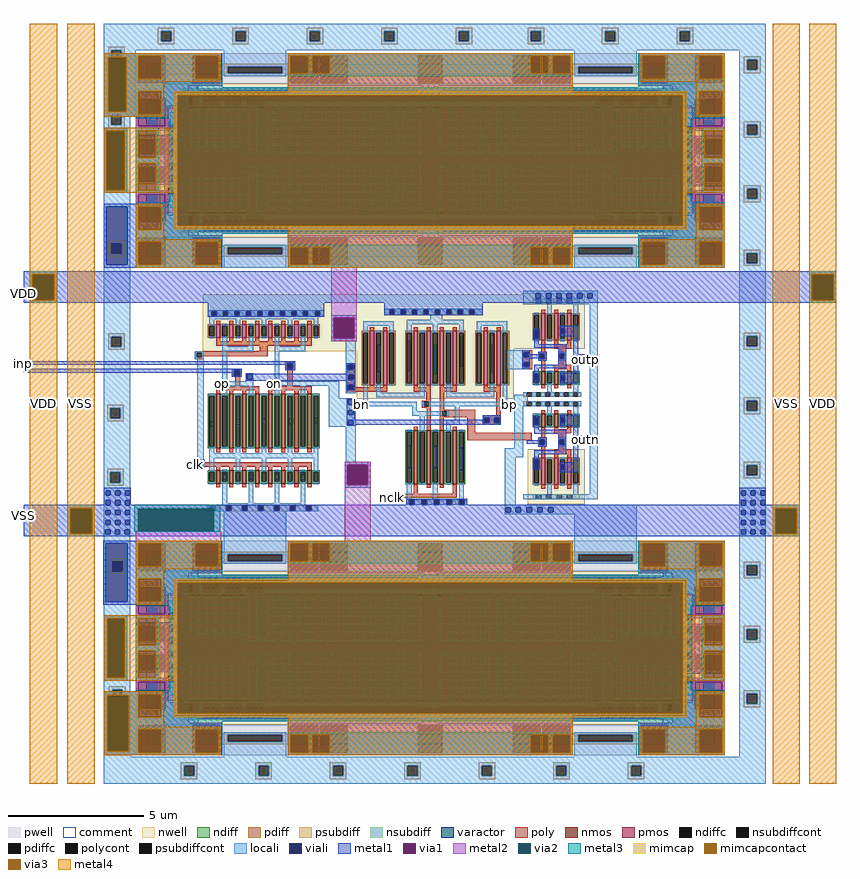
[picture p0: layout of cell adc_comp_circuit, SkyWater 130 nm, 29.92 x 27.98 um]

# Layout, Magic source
magic
tech sky130A
magscale 1 2
<< nwell >>
rect 2402 226 2858 230
rect 44 16 2858 226
rect 44 -178 2570 16
rect 44 -196 2336 -178
rect 570 -198 812 -196
rect 1178 -546 2336 -196
<< nmos >>
rect 144 -910 174 -510
rect 240 -910 270 -510
rect 336 -910 366 -510
rect 432 -910 462 -510
rect 528 -910 558 -510
rect 624 -910 654 -510
rect 720 -910 750 -510
rect 816 -910 846 -510
rect 144 -1170 174 -1070
rect 240 -1170 270 -1070
rect 336 -1170 366 -1070
rect 432 -1170 462 -1070
rect 528 -1170 558 -1070
rect 624 -1170 654 -1070
rect 720 -1170 750 -1070
rect 816 -1170 846 -1070
rect 1598 -1176 1628 -776
rect 1694 -1176 1724 -776
rect 1790 -1176 1820 -776
rect 1886 -1176 1916 -776
<< pmos >>
rect 144 -96 174 4
rect 240 -96 270 4
rect 336 -96 366 4
rect 432 -96 462 4
rect 528 -96 558 4
rect 624 -96 654 4
rect 720 -96 750 4
rect 816 -96 846 4
rect 1276 -446 1306 -46
rect 1372 -446 1402 -46
rect 1598 -446 1628 -46
rect 1694 -446 1724 -46
rect 1790 -446 1820 -46
rect 1886 -446 1916 -46
rect 2112 -446 2142 -46
rect 2208 -446 2238 -46
<< ndiff >>
rect 82 -522 144 -510
rect 82 -898 94 -522
rect 128 -898 144 -522
rect 82 -910 144 -898
rect 174 -522 240 -510
rect 174 -898 190 -522
rect 224 -898 240 -522
rect 174 -910 240 -898
rect 270 -522 336 -510
rect 270 -898 286 -522
rect 320 -898 336 -522
rect 270 -910 336 -898
rect 366 -522 432 -510
rect 366 -898 382 -522
rect 416 -898 432 -522
rect 366 -910 432 -898
rect 462 -522 528 -510
rect 462 -898 478 -522
rect 512 -898 528 -522
rect 462 -910 528 -898
rect 558 -522 624 -510
rect 558 -898 574 -522
rect 608 -898 624 -522
rect 558 -910 624 -898
rect 654 -522 720 -510
rect 654 -898 670 -522
rect 704 -898 720 -522
rect 654 -910 720 -898
rect 750 -522 816 -510
rect 750 -898 766 -522
rect 800 -898 816 -522
rect 750 -910 816 -898
rect 846 -522 908 -510
rect 846 -898 862 -522
rect 896 -898 908 -522
rect 846 -910 908 -898
rect 1536 -788 1598 -776
rect 82 -1082 144 -1070
rect 82 -1158 94 -1082
rect 128 -1158 144 -1082
rect 82 -1170 144 -1158
rect 174 -1082 240 -1070
rect 174 -1158 190 -1082
rect 224 -1158 240 -1082
rect 174 -1170 240 -1158
rect 270 -1082 336 -1070
rect 270 -1158 286 -1082
rect 320 -1158 336 -1082
rect 270 -1170 336 -1158
rect 366 -1082 432 -1070
rect 366 -1158 382 -1082
rect 416 -1158 432 -1082
rect 366 -1170 432 -1158
rect 462 -1082 528 -1070
rect 462 -1158 478 -1082
rect 512 -1158 528 -1082
rect 462 -1170 528 -1158
rect 558 -1082 624 -1070
rect 558 -1158 574 -1082
rect 608 -1158 624 -1082
rect 558 -1170 624 -1158
rect 654 -1082 720 -1070
rect 654 -1158 670 -1082
rect 704 -1158 720 -1082
rect 654 -1170 720 -1158
rect 750 -1082 816 -1070
rect 750 -1158 766 -1082
rect 800 -1158 816 -1082
rect 750 -1170 816 -1158
rect 846 -1082 908 -1070
rect 846 -1158 862 -1082
rect 896 -1158 908 -1082
rect 846 -1170 908 -1158
rect 1536 -1164 1548 -788
rect 1582 -1164 1598 -788
rect 1536 -1176 1598 -1164
rect 1628 -788 1694 -776
rect 1628 -1164 1644 -788
rect 1678 -1164 1694 -788
rect 1628 -1176 1694 -1164
rect 1724 -788 1790 -776
rect 1724 -1164 1740 -788
rect 1774 -1164 1790 -788
rect 1724 -1176 1790 -1164
rect 1820 -788 1886 -776
rect 1820 -1164 1836 -788
rect 1870 -1164 1886 -788
rect 1820 -1176 1886 -1164
rect 1916 -788 1978 -776
rect 1916 -1164 1932 -788
rect 1966 -1164 1978 -788
rect 1916 -1176 1978 -1164
<< pdiff >>
rect 82 -8 144 4
rect 82 -84 94 -8
rect 128 -84 144 -8
rect 82 -96 144 -84
rect 174 -8 240 4
rect 174 -84 190 -8
rect 224 -84 240 -8
rect 174 -96 240 -84
rect 270 -8 336 4
rect 270 -84 286 -8
rect 320 -84 336 -8
rect 270 -96 336 -84
rect 366 -8 432 4
rect 366 -84 382 -8
rect 416 -84 432 -8
rect 366 -96 432 -84
rect 462 -8 528 4
rect 462 -84 478 -8
rect 512 -84 528 -8
rect 462 -96 528 -84
rect 558 -8 624 4
rect 558 -84 574 -8
rect 608 -84 624 -8
rect 558 -96 624 -84
rect 654 -8 720 4
rect 654 -84 670 -8
rect 704 -84 720 -8
rect 654 -96 720 -84
rect 750 -8 816 4
rect 750 -84 766 -8
rect 800 -84 816 -8
rect 750 -96 816 -84
rect 846 -8 908 4
rect 846 -84 862 -8
rect 896 -84 908 -8
rect 846 -96 908 -84
rect 1214 -58 1276 -46
rect 1214 -434 1226 -58
rect 1260 -434 1276 -58
rect 1214 -446 1276 -434
rect 1306 -58 1372 -46
rect 1306 -434 1322 -58
rect 1356 -434 1372 -58
rect 1306 -446 1372 -434
rect 1402 -58 1464 -46
rect 1402 -434 1418 -58
rect 1452 -434 1464 -58
rect 1402 -446 1464 -434
rect 1536 -58 1598 -46
rect 1536 -434 1548 -58
rect 1582 -434 1598 -58
rect 1536 -446 1598 -434
rect 1628 -58 1694 -46
rect 1628 -434 1644 -58
rect 1678 -434 1694 -58
rect 1628 -446 1694 -434
rect 1724 -58 1790 -46
rect 1724 -434 1740 -58
rect 1774 -434 1790 -58
rect 1724 -446 1790 -434
rect 1820 -58 1886 -46
rect 1820 -434 1836 -58
rect 1870 -434 1886 -58
rect 1820 -446 1886 -434
rect 1916 -58 1978 -46
rect 1916 -434 1932 -58
rect 1966 -434 1978 -58
rect 1916 -446 1978 -434
rect 2050 -58 2112 -46
rect 2050 -434 2062 -58
rect 2096 -434 2112 -58
rect 2050 -446 2112 -434
rect 2142 -58 2208 -46
rect 2142 -434 2158 -58
rect 2192 -434 2208 -58
rect 2142 -446 2208 -434
rect 2238 -58 2300 -46
rect 2238 -434 2254 -58
rect 2288 -434 2300 -58
rect 2238 -446 2300 -434
<< ndiffc >>
rect 94 -898 128 -522
rect 190 -898 224 -522
rect 286 -898 320 -522
rect 382 -898 416 -522
rect 478 -898 512 -522
rect 574 -898 608 -522
rect 670 -898 704 -522
rect 766 -898 800 -522
rect 862 -898 896 -522
rect 94 -1158 128 -1082
rect 190 -1158 224 -1082
rect 286 -1158 320 -1082
rect 382 -1158 416 -1082
rect 478 -1158 512 -1082
rect 574 -1158 608 -1082
rect 670 -1158 704 -1082
rect 766 -1158 800 -1082
rect 862 -1158 896 -1082
rect 1548 -1164 1582 -788
rect 1644 -1164 1678 -788
rect 1740 -1164 1774 -788
rect 1836 -1164 1870 -788
rect 1932 -1164 1966 -788
<< pdiffc >>
rect 94 -84 128 -8
rect 190 -84 224 -8
rect 286 -84 320 -8
rect 382 -84 416 -8
rect 478 -84 512 -8
rect 574 -84 608 -8
rect 670 -84 704 -8
rect 766 -84 800 -8
rect 862 -84 896 -8
rect 1226 -434 1260 -58
rect 1322 -434 1356 -58
rect 1418 -434 1452 -58
rect 1548 -434 1582 -58
rect 1644 -434 1678 -58
rect 1740 -434 1774 -58
rect 1836 -434 1870 -58
rect 1932 -434 1966 -58
rect 2062 -434 2096 -58
rect 2158 -434 2192 -58
rect 2254 -434 2288 -58
<< psubdiff >>
rect -286 2162 -164 2188
rect -286 2088 -262 2162
rect -188 2088 -164 2162
rect -286 2064 -164 2088
rect 262 2162 384 2188
rect 262 2088 286 2162
rect 360 2088 384 2162
rect 262 2064 384 2088
rect 810 2162 932 2188
rect 810 2088 834 2162
rect 908 2088 932 2162
rect 810 2064 932 2088
rect 1358 2162 1480 2188
rect 1358 2088 1382 2162
rect 1456 2088 1480 2162
rect 1358 2064 1480 2088
rect 1906 2162 2028 2188
rect 1906 2088 1930 2162
rect 2004 2088 2028 2162
rect 1906 2064 2028 2088
rect 2436 2162 2558 2188
rect 2436 2088 2460 2162
rect 2534 2088 2558 2162
rect 2436 2064 2558 2088
rect 2984 2162 3106 2188
rect 2984 2088 3008 2162
rect 3082 2088 3106 2162
rect 2984 2064 3106 2088
rect 3534 2162 3656 2188
rect 3534 2088 3558 2162
rect 3632 2088 3656 2162
rect 3534 2064 3656 2088
rect -652 2020 -530 2046
rect -652 1946 -628 2020
rect -554 1946 -530 2020
rect -652 1922 -530 1946
rect 4030 1950 4152 1976
rect 4030 1876 4054 1950
rect 4128 1876 4152 1950
rect 4030 1852 4152 1876
rect -652 1546 -530 1572
rect -652 1472 -628 1546
rect -554 1472 -530 1546
rect -652 1448 -530 1472
rect 4030 1474 4152 1500
rect 4030 1400 4054 1474
rect 4128 1400 4152 1474
rect 4030 1376 4152 1400
rect -652 1072 -530 1098
rect -652 998 -628 1072
rect -554 998 -530 1072
rect -652 974 -530 998
rect 4030 1000 4152 1026
rect 4030 926 4054 1000
rect 4128 926 4152 1000
rect 4030 902 4152 926
rect -652 598 -530 624
rect -652 524 -628 598
rect -554 524 -530 598
rect -652 500 -530 524
rect 4028 526 4150 552
rect 4028 452 4052 526
rect 4126 452 4150 526
rect 4028 434 4150 452
rect -652 -88 -530 -62
rect -652 -162 -628 -88
rect -554 -162 -530 -88
rect -652 -186 -530 -162
rect 4028 -86 4150 -60
rect 4028 -160 4052 -86
rect 4126 -160 4150 -86
rect 4028 -184 4150 -160
rect -660 -614 -538 -588
rect -660 -688 -636 -614
rect -562 -688 -538 -614
rect -660 -712 -538 -688
rect 4028 -560 4150 -534
rect 4028 -634 4052 -560
rect 4126 -634 4150 -560
rect 4028 -658 4150 -634
rect -660 -1088 -538 -1062
rect -660 -1162 -636 -1088
rect -562 -1162 -538 -1088
rect -660 -1186 -538 -1162
rect 4028 -1034 4150 -1008
rect 4028 -1108 4052 -1034
rect 4126 -1108 4150 -1034
rect 4028 -1132 4150 -1108
rect 1542 -1324 1566 -1288
rect 1602 -1324 1658 -1288
rect 1694 -1324 1750 -1288
rect 1786 -1324 1842 -1288
rect 1878 -1324 1934 -1288
rect 1970 -1324 1994 -1288
rect 1542 -1326 1994 -1324
rect 76 -1332 894 -1330
rect 76 -1368 100 -1332
rect 136 -1368 218 -1332
rect 254 -1368 336 -1332
rect 372 -1368 454 -1332
rect 490 -1368 572 -1332
rect 608 -1368 690 -1332
rect 726 -1368 808 -1332
rect 844 -1368 894 -1332
rect 76 -1372 894 -1368
rect -646 -1740 -524 -1714
rect -646 -1814 -622 -1740
rect -548 -1814 -524 -1740
rect -646 -1838 -524 -1814
rect 4028 -1770 4150 -1744
rect 4028 -1844 4052 -1770
rect 4126 -1844 4150 -1770
rect 4028 -1868 4150 -1844
rect -646 -2214 -524 -2188
rect -646 -2288 -622 -2214
rect -548 -2288 -524 -2214
rect -646 -2312 -524 -2288
rect 4028 -2244 4150 -2218
rect 4028 -2318 4052 -2244
rect 4126 -2318 4150 -2244
rect 4028 -2342 4150 -2318
rect -646 -2688 -524 -2662
rect -646 -2762 -622 -2688
rect -548 -2762 -524 -2688
rect -646 -2786 -524 -2762
rect 4028 -2718 4150 -2692
rect 4028 -2792 4052 -2718
rect 4126 -2792 4150 -2718
rect 4028 -2816 4150 -2792
rect -116 -3248 6 -3222
rect -116 -3322 -92 -3248
rect -18 -3322 6 -3248
rect -116 -3346 6 -3322
rect 432 -3248 554 -3222
rect 432 -3322 456 -3248
rect 530 -3322 554 -3248
rect 432 -3346 554 -3322
rect 980 -3248 1102 -3222
rect 980 -3322 1004 -3248
rect 1078 -3322 1102 -3248
rect 980 -3346 1102 -3322
rect 1528 -3248 1650 -3222
rect 1528 -3322 1552 -3248
rect 1626 -3322 1650 -3248
rect 1528 -3346 1650 -3322
rect 2076 -3248 2198 -3222
rect 2076 -3322 2100 -3248
rect 2174 -3322 2198 -3248
rect 2076 -3346 2198 -3322
rect 2624 -3248 2746 -3222
rect 2624 -3322 2648 -3248
rect 2722 -3322 2746 -3248
rect 2624 -3346 2746 -3322
rect 3174 -3248 3296 -3222
rect 3174 -3322 3198 -3248
rect 3272 -3322 3296 -3248
rect 3174 -3346 3296 -3322
<< nsubdiff >>
rect 1382 110 2106 118
rect 82 100 938 108
rect 82 66 112 100
rect 146 66 196 100
rect 230 66 280 100
rect 314 66 364 100
rect 398 66 448 100
rect 482 66 532 100
rect 566 66 616 100
rect 650 66 700 100
rect 734 66 784 100
rect 818 66 874 100
rect 908 66 938 100
rect 1382 76 1420 110
rect 1454 76 1504 110
rect 1538 76 1588 110
rect 1622 76 1672 110
rect 1706 76 1756 110
rect 1790 76 1840 110
rect 1874 76 1924 110
rect 1958 76 2008 110
rect 2042 76 2106 110
rect 1382 70 2106 76
rect 82 60 938 66
<< psubdiffcont >>
rect -262 2088 -188 2162
rect 286 2088 360 2162
rect 834 2088 908 2162
rect 1382 2088 1456 2162
rect 1930 2088 2004 2162
rect 2460 2088 2534 2162
rect 3008 2088 3082 2162
rect 3558 2088 3632 2162
rect -628 1946 -554 2020
rect 4054 1876 4128 1950
rect -628 1472 -554 1546
rect 4054 1400 4128 1474
rect -628 998 -554 1072
rect 4054 926 4128 1000
rect -628 524 -554 598
rect 4052 452 4126 526
rect -628 -162 -554 -88
rect 4052 -160 4126 -86
rect -636 -688 -562 -614
rect 4052 -634 4126 -560
rect -636 -1162 -562 -1088
rect 4052 -1108 4126 -1034
rect 1566 -1324 1602 -1288
rect 1658 -1324 1694 -1288
rect 1750 -1324 1786 -1288
rect 1842 -1324 1878 -1288
rect 1934 -1324 1970 -1288
rect 100 -1368 136 -1332
rect 218 -1368 254 -1332
rect 336 -1368 372 -1332
rect 454 -1368 490 -1332
rect 572 -1368 608 -1332
rect 690 -1368 726 -1332
rect 808 -1368 844 -1332
rect -622 -1814 -548 -1740
rect 4052 -1844 4126 -1770
rect -622 -2288 -548 -2214
rect 4052 -2318 4126 -2244
rect -622 -2762 -548 -2688
rect 4052 -2792 4126 -2718
rect -92 -3322 -18 -3248
rect 456 -3322 530 -3248
rect 1004 -3322 1078 -3248
rect 1552 -3322 1626 -3248
rect 2100 -3322 2174 -3248
rect 2648 -3322 2722 -3248
rect 3198 -3322 3272 -3248
<< nsubdiffcont >>
rect 112 66 146 100
rect 196 66 230 100
rect 280 66 314 100
rect 364 66 398 100
rect 448 66 482 100
rect 532 66 566 100
rect 616 66 650 100
rect 700 66 734 100
rect 784 66 818 100
rect 874 66 908 100
rect 1420 76 1454 110
rect 1504 76 1538 110
rect 1588 76 1622 110
rect 1672 76 1706 110
rect 1756 76 1790 110
rect 1840 76 1874 110
rect 1924 76 1958 110
rect 2008 76 2042 110
<< poly >>
rect 144 4 174 30
rect 240 4 270 30
rect 336 4 366 30
rect 432 4 462 30
rect 528 4 558 30
rect 624 4 654 30
rect 720 4 750 30
rect 816 4 846 30
rect 1276 -46 1306 -20
rect 1372 -46 1402 -20
rect 1598 -46 1628 -20
rect 1694 -46 1724 -20
rect 1790 -46 1820 -20
rect 1886 -46 1916 -20
rect 2112 -46 2142 -20
rect 2208 -46 2238 -20
rect 144 -122 174 -96
rect 240 -122 270 -96
rect 336 -122 366 -96
rect 432 -122 462 -96
rect 528 -122 558 -96
rect 624 -122 654 -96
rect 720 -122 750 -96
rect 816 -122 846 -96
rect 144 -154 846 -122
rect 466 -196 524 -154
rect -14 -206 524 -196
rect -14 -240 2 -206
rect 36 -232 524 -206
rect 36 -240 52 -232
rect -14 -254 52 -240
rect 652 -284 724 -274
rect 652 -324 668 -284
rect 708 -324 724 -284
rect 260 -334 332 -324
rect 652 -334 724 -324
rect 1100 -294 1168 -284
rect 1100 -330 1116 -294
rect 1152 -330 1168 -294
rect 260 -374 276 -334
rect 316 -374 332 -334
rect 260 -384 332 -374
rect 284 -454 322 -384
rect 668 -454 706 -334
rect 1100 -368 1168 -330
rect 1100 -404 1116 -368
rect 1152 -404 1168 -368
rect 1100 -442 1168 -404
rect 144 -484 462 -454
rect 144 -510 174 -484
rect 240 -510 270 -484
rect 336 -510 366 -484
rect 432 -510 462 -484
rect 528 -484 846 -454
rect 528 -510 558 -484
rect 624 -510 654 -484
rect 720 -510 750 -484
rect 816 -510 846 -484
rect 1100 -478 1116 -442
rect 1152 -462 1168 -442
rect 2396 -204 2470 -188
rect 2396 -238 2410 -204
rect 2446 -238 2470 -204
rect 2396 -276 2470 -238
rect 2396 -310 2410 -276
rect 2446 -310 2470 -276
rect 2396 -326 2470 -310
rect 1276 -462 1306 -446
rect 1372 -462 1402 -446
rect 1152 -478 1402 -462
rect 1100 -492 1402 -478
rect 1598 -462 1628 -446
rect 1694 -462 1724 -446
rect 1598 -492 1724 -462
rect 1690 -558 1724 -492
rect 1658 -568 1724 -558
rect 1658 -602 1674 -568
rect 1708 -602 1724 -568
rect 1658 -612 1724 -602
rect 1598 -776 1628 -750
rect 1694 -776 1724 -612
rect 1790 -462 1820 -446
rect 1886 -462 1916 -446
rect 1790 -492 1916 -462
rect 2112 -462 2142 -446
rect 2208 -462 2238 -446
rect 2112 -492 2238 -462
rect 1790 -626 1824 -492
rect 1790 -636 2050 -626
rect 1790 -670 1808 -636
rect 1842 -670 2050 -636
rect 2204 -668 2238 -492
rect 1790 -680 2050 -670
rect 1790 -776 1820 -680
rect 1886 -776 1916 -750
rect 144 -938 174 -910
rect 240 -938 270 -910
rect 336 -938 366 -910
rect 432 -938 462 -910
rect 528 -938 558 -910
rect 624 -938 654 -910
rect 720 -938 750 -910
rect 816 -938 846 -910
rect -6 -1004 60 -994
rect -6 -1038 10 -1004
rect 44 -1014 60 -1004
rect 44 -1038 846 -1014
rect -6 -1044 846 -1038
rect -6 -1048 60 -1044
rect 144 -1070 174 -1044
rect 240 -1070 270 -1044
rect 336 -1070 366 -1044
rect 432 -1070 462 -1044
rect 528 -1070 558 -1044
rect 624 -1070 654 -1044
rect 720 -1070 750 -1044
rect 816 -1070 846 -1044
rect 144 -1196 174 -1170
rect 240 -1196 270 -1170
rect 336 -1196 366 -1170
rect 432 -1196 462 -1170
rect 528 -1196 558 -1170
rect 624 -1196 654 -1170
rect 720 -1196 750 -1170
rect 816 -1196 846 -1170
rect 1994 -796 2050 -680
rect 2108 -684 2238 -668
rect 2108 -720 2118 -684
rect 2154 -720 2192 -684
rect 2228 -720 2238 -684
rect 2108 -736 2238 -720
rect 1994 -852 2466 -796
rect 1598 -1244 1628 -1176
rect 1694 -1202 1724 -1176
rect 1790 -1202 1820 -1176
rect 1886 -1244 1916 -1176
rect 1440 -1254 1916 -1244
rect 1440 -1288 1456 -1254
rect 1490 -1274 1916 -1254
rect 1490 -1288 1506 -1274
rect 1440 -1298 1506 -1288
<< polycont >>
rect 2 -240 36 -206
rect 668 -324 708 -284
rect 1116 -330 1152 -294
rect 276 -374 316 -334
rect 1116 -404 1152 -368
rect 1116 -478 1152 -442
rect 2410 -238 2446 -204
rect 2410 -310 2446 -276
rect 1674 -602 1708 -568
rect 1808 -670 1842 -636
rect 10 -1038 44 -1004
rect 2118 -720 2154 -684
rect 2192 -720 2228 -684
rect 1456 -1288 1490 -1254
<< locali >>
rect -686 2162 4192 2218
rect -686 2088 -262 2162
rect -188 2088 286 2162
rect 360 2088 834 2162
rect 908 2088 1382 2162
rect 1456 2088 1930 2162
rect 2004 2088 2460 2162
rect 2534 2088 3008 2162
rect 3082 2088 3558 2162
rect 3632 2088 4192 2162
rect -686 2020 4192 2088
rect -686 1970 -628 2020
rect -554 1970 -450 2020
rect 200 2000 660 2020
rect 2780 2000 3240 2020
rect -686 1570 -650 1970
rect -520 1570 -450 1970
rect -686 1546 -450 1570
rect -686 1472 -628 1546
rect -554 1530 -450 1546
rect 3994 1950 4192 2020
rect 3994 1876 4054 1950
rect 4128 1876 4192 1950
rect -554 1472 -488 1530
rect -686 1430 -488 1472
rect -686 990 -666 1430
rect -530 990 -488 1430
rect -686 870 -488 990
rect -686 440 -666 870
rect -510 440 -488 870
rect -686 -88 -488 440
rect 3994 1474 4192 1876
rect 3994 1400 4054 1474
rect 4128 1400 4192 1474
rect 3994 1000 4192 1400
rect 3994 926 4054 1000
rect 4128 926 4192 1000
rect 3994 526 4192 926
rect 3994 452 4052 526
rect 4126 452 4192 526
rect 2404 230 2952 250
rect 2404 194 2498 230
rect 2534 194 2574 230
rect 2610 194 2650 230
rect 2686 194 2726 230
rect 2762 194 2802 230
rect 2838 194 2878 230
rect 2914 194 2952 230
rect 2404 152 2952 194
rect 1382 110 2106 118
rect 82 100 938 108
rect 82 66 112 100
rect 146 66 196 100
rect 230 66 280 100
rect 314 66 364 100
rect 398 66 448 100
rect 482 66 532 100
rect 566 66 616 100
rect 650 66 700 100
rect 734 66 784 100
rect 818 66 874 100
rect 908 66 938 100
rect 1382 76 1420 110
rect 1454 76 1504 110
rect 1538 76 1588 110
rect 1622 76 1672 110
rect 1706 76 1756 110
rect 1790 76 1840 110
rect 1874 76 1924 110
rect 1958 76 2008 110
rect 2042 76 2106 110
rect 1382 70 2106 76
rect 82 60 938 66
rect -686 -162 -628 -88
rect -554 -162 -488 -88
rect 94 42 896 60
rect 94 -8 128 42
rect 94 -100 128 -84
rect 190 -8 224 8
rect -686 -614 -488 -162
rect 190 -160 224 -84
rect 286 -8 320 42
rect 286 -100 320 -84
rect 382 -8 416 8
rect 382 -160 416 -84
rect 478 -8 512 42
rect 478 -100 512 -84
rect 574 -8 608 8
rect 190 -194 416 -160
rect 574 -160 608 -84
rect 670 -8 704 42
rect 670 -100 704 -84
rect 766 -8 800 8
rect 766 -160 800 -84
rect 862 -8 896 42
rect 862 -100 896 -84
rect 990 50 1180 70
rect 990 -100 1010 50
rect 1160 -100 1180 50
rect 1718 36 1808 70
rect 990 -120 1180 -100
rect 1226 -8 1452 26
rect 1226 -58 1260 -8
rect 574 -194 800 -160
rect -14 -206 52 -196
rect -14 -240 2 -206
rect 36 -240 52 -206
rect -14 -254 52 -240
rect -686 -688 -636 -614
rect -562 -688 -488 -614
rect -686 -1088 -488 -688
rect 6 -994 52 -254
rect 190 -418 224 -194
rect 260 -334 332 -324
rect 260 -374 276 -334
rect 316 -374 332 -334
rect 260 -384 332 -374
rect 368 -364 416 -358
rect 368 -400 374 -364
rect 410 -400 416 -364
rect 368 -418 416 -400
rect 190 -452 416 -418
rect 94 -522 128 -506
rect 94 -948 128 -898
rect 190 -522 224 -452
rect 190 -914 224 -898
rect 286 -522 320 -506
rect 286 -948 320 -898
rect 382 -522 416 -452
rect 574 -416 608 -194
rect 652 -284 724 -274
rect 652 -324 668 -284
rect 708 -324 724 -284
rect 652 -334 724 -324
rect 1096 -294 1172 -120
rect 1096 -330 1116 -294
rect 1152 -330 1172 -294
rect 1096 -368 1172 -330
rect 1096 -404 1116 -368
rect 1152 -404 1172 -368
rect 574 -450 1050 -416
rect 382 -914 416 -898
rect 478 -522 512 -506
rect 478 -948 512 -898
rect 574 -522 608 -450
rect 574 -914 608 -898
rect 670 -522 704 -506
rect 670 -948 704 -898
rect 766 -522 800 -450
rect 766 -914 800 -898
rect 862 -522 896 -506
rect 974 -540 1050 -450
rect 1096 -442 1172 -404
rect 1096 -478 1116 -442
rect 1152 -478 1172 -442
rect 1096 -506 1172 -478
rect 974 -552 1172 -540
rect 974 -588 1116 -552
rect 1152 -588 1172 -552
rect 1226 -568 1260 -434
rect 1322 -58 1356 -42
rect 1322 -500 1356 -434
rect 1418 -58 1452 -8
rect 1418 -450 1452 -434
rect 1548 2 1966 36
rect 1548 -58 1582 2
rect 1548 -450 1582 -434
rect 1644 -58 1678 -42
rect 1644 -500 1678 -434
rect 1740 -58 1774 2
rect 1740 -450 1774 -434
rect 1836 -58 1870 -42
rect 1322 -534 1678 -500
rect 1836 -500 1870 -434
rect 1932 -58 1966 2
rect 1932 -450 1966 -434
rect 2062 -8 2288 26
rect 2062 -58 2096 -8
rect 2062 -450 2096 -434
rect 2158 -58 2192 -42
rect 2158 -500 2192 -434
rect 1836 -534 2192 -500
rect 2254 -58 2288 -8
rect 2288 -204 2452 -188
rect 2288 -238 2410 -204
rect 2446 -238 2452 -204
rect 2288 -276 2452 -238
rect 2288 -310 2410 -276
rect 2446 -310 2452 -276
rect 2786 -234 2846 -224
rect 2786 -236 2860 -234
rect 2786 -272 2792 -236
rect 2828 -272 2860 -236
rect 2786 -284 2846 -272
rect 2288 -326 2452 -310
rect 2254 -568 2288 -434
rect 974 -628 1172 -588
rect 1210 -602 1622 -568
rect 1658 -602 1674 -568
rect 1708 -602 2300 -568
rect 2338 -582 2436 -514
rect 974 -664 1116 -628
rect 1152 -664 1172 -628
rect 974 -702 1172 -664
rect 1588 -636 1622 -602
rect 1588 -670 1808 -636
rect 1842 -670 1858 -636
rect 974 -738 1116 -702
rect 1152 -738 1172 -702
rect 974 -752 1172 -738
rect 862 -948 896 -898
rect 94 -984 896 -948
rect -6 -1004 60 -994
rect -6 -1038 10 -1004
rect 44 -1038 60 -1004
rect -6 -1048 60 -1038
rect -686 -1162 -636 -1088
rect -562 -1162 -488 -1088
rect -686 -1222 -488 -1162
rect 94 -1082 128 -984
rect 94 -1174 128 -1158
rect 190 -1082 224 -1064
rect -686 -1256 -670 -1222
rect -636 -1256 -598 -1222
rect -564 -1256 -526 -1222
rect -492 -1256 -488 -1222
rect -686 -1294 -488 -1256
rect -686 -1328 -670 -1294
rect -636 -1328 -598 -1294
rect -564 -1328 -526 -1294
rect -492 -1328 -488 -1294
rect -686 -1366 -488 -1328
rect 190 -1316 224 -1158
rect 286 -1082 320 -984
rect 286 -1174 320 -1158
rect 382 -1082 416 -1066
rect 382 -1316 416 -1158
rect 478 -1082 512 -984
rect 478 -1174 512 -1158
rect 574 -1082 608 -1066
rect 574 -1316 608 -1158
rect 670 -1082 704 -984
rect 670 -1174 704 -1158
rect 766 -1082 800 -1066
rect 766 -1316 800 -1158
rect 862 -1082 896 -984
rect 1096 -1010 1172 -752
rect 1548 -788 1582 -772
rect 862 -1174 896 -1158
rect 1090 -1030 1280 -1010
rect 1090 -1180 1110 -1030
rect 1260 -1180 1280 -1030
rect 1090 -1200 1280 -1180
rect 1440 -1254 1506 -1244
rect 1440 -1288 1456 -1254
rect 1490 -1288 1506 -1254
rect 1548 -1288 1582 -1164
rect 1644 -788 1678 -670
rect 1902 -704 1936 -602
rect 1836 -738 1936 -704
rect 2112 -684 2234 -668
rect 2112 -720 2118 -684
rect 2154 -720 2192 -684
rect 2228 -720 2234 -684
rect 2112 -736 2234 -720
rect 1644 -1180 1678 -1164
rect 1740 -788 1774 -772
rect 1740 -1288 1774 -1164
rect 1836 -788 1870 -738
rect 1836 -1180 1870 -1164
rect 1932 -788 1966 -772
rect 2338 -908 2406 -582
rect 2790 -824 2850 -814
rect 2790 -826 2862 -824
rect 2790 -862 2796 -826
rect 2832 -862 2862 -826
rect 2790 -874 2850 -862
rect 1932 -1288 1966 -1164
rect 2268 -976 2406 -908
rect 1440 -1298 1506 -1288
rect 190 -1330 800 -1316
rect 1542 -1324 1566 -1288
rect 1602 -1324 1658 -1288
rect 1694 -1324 1750 -1288
rect 1786 -1324 1842 -1288
rect 1878 -1324 1934 -1288
rect 1970 -1324 1994 -1288
rect 1542 -1326 1994 -1324
rect 2268 -1326 2348 -976
rect 2896 -1248 2952 152
rect 2406 -1286 2952 -1248
rect 3994 -86 4192 452
rect 3994 -160 4052 -86
rect 4126 -160 4192 -86
rect 3994 -560 4192 -160
rect 3994 -634 4052 -560
rect 4126 -634 4192 -560
rect 3994 -1034 4192 -634
rect 3994 -1108 4052 -1034
rect 4126 -1108 4192 -1034
rect 3994 -1222 4192 -1108
rect 3994 -1256 4008 -1222
rect 4042 -1256 4080 -1222
rect 4114 -1256 4152 -1222
rect 4186 -1256 4192 -1222
rect 3994 -1294 4192 -1256
rect -686 -1400 -670 -1366
rect -636 -1400 -598 -1366
rect -564 -1400 -526 -1366
rect -492 -1400 -488 -1366
rect 76 -1332 894 -1330
rect 76 -1368 100 -1332
rect 136 -1368 218 -1332
rect 254 -1368 336 -1332
rect 372 -1368 454 -1332
rect 490 -1368 572 -1332
rect 608 -1368 690 -1332
rect 726 -1368 808 -1332
rect 844 -1368 894 -1332
rect 76 -1372 894 -1368
rect 2268 -1344 3240 -1326
rect 2268 -1346 2350 -1344
rect -686 -1438 -488 -1400
rect -686 -1472 -670 -1438
rect -636 -1472 -598 -1438
rect -564 -1472 -526 -1438
rect -492 -1472 -488 -1438
rect -686 -1510 -488 -1472
rect -686 -1544 -672 -1510
rect -638 -1544 -600 -1510
rect -566 -1544 -528 -1510
rect -494 -1544 -488 -1510
rect -686 -1610 -488 -1544
rect 200 -1590 660 -1372
rect 2268 -1382 2276 -1346
rect 2312 -1380 2350 -1346
rect 2386 -1380 2430 -1344
rect 2466 -1380 2510 -1344
rect 2546 -1380 2590 -1344
rect 2626 -1380 3240 -1344
rect 2312 -1382 3240 -1380
rect 2268 -1396 3240 -1382
rect 2780 -1590 3240 -1396
rect 3994 -1328 4008 -1294
rect 4042 -1328 4080 -1294
rect 4114 -1328 4152 -1294
rect 4186 -1328 4192 -1294
rect 3994 -1366 4192 -1328
rect 3994 -1400 4008 -1366
rect 4042 -1400 4080 -1366
rect 4114 -1400 4152 -1366
rect 4186 -1400 4192 -1366
rect 3994 -1438 4192 -1400
rect 3994 -1472 4008 -1438
rect 4042 -1472 4080 -1438
rect 4114 -1472 4152 -1438
rect 4186 -1472 4192 -1438
rect 3994 -1510 4192 -1472
rect 3994 -1544 4008 -1510
rect 4042 -1544 4080 -1510
rect 4114 -1544 4152 -1510
rect 4186 -1544 4192 -1510
rect -686 -2040 -668 -1610
rect -510 -2040 -488 -1610
rect -686 -2160 -488 -2040
rect -686 -2600 -660 -2160
rect -530 -2600 -488 -2160
rect -686 -2688 -488 -2600
rect -686 -2730 -622 -2688
rect -548 -2730 -488 -2688
rect -686 -3140 -660 -2730
rect -500 -3140 -488 -2730
rect -686 -3180 -488 -3140
rect 3994 -1770 4192 -1544
rect 3994 -1844 4052 -1770
rect 4126 -1844 4192 -1770
rect 3994 -2244 4192 -1844
rect 3994 -2318 4052 -2244
rect 4126 -2318 4192 -2244
rect 3994 -2718 4192 -2318
rect 3994 -2792 4052 -2718
rect 4126 -2792 4192 -2718
rect 200 -3180 660 -3170
rect 2780 -3180 3240 -3170
rect 3994 -3180 4192 -2792
rect -686 -3248 4192 -3180
rect -686 -3322 -92 -3248
rect -18 -3322 456 -3248
rect 530 -3322 1004 -3248
rect 1078 -3322 1552 -3248
rect 1626 -3322 2100 -3248
rect 2174 -3322 2648 -3248
rect 2722 -3322 3198 -3248
rect 3272 -3322 4192 -3248
rect -686 -3378 4192 -3322
<< viali >>
rect -650 1946 -628 1970
rect -628 1946 -554 1970
rect -554 1946 -520 1970
rect -650 1570 -520 1946
rect -666 1072 -530 1430
rect -666 998 -628 1072
rect -628 998 -554 1072
rect -554 998 -530 1072
rect -666 990 -530 998
rect -666 598 -510 870
rect -666 524 -628 598
rect -628 524 -554 598
rect -554 524 -510 598
rect -666 440 -510 524
rect 2498 194 2534 230
rect 2574 194 2610 230
rect 2650 194 2686 230
rect 2726 194 2762 230
rect 2802 194 2838 230
rect 2878 194 2914 230
rect 112 66 146 100
rect 196 66 230 100
rect 280 66 314 100
rect 364 66 398 100
rect 448 66 482 100
rect 532 66 566 100
rect 616 66 650 100
rect 700 66 734 100
rect 784 66 818 100
rect 874 66 908 100
rect 1420 76 1454 110
rect 1504 76 1538 110
rect 1588 76 1622 110
rect 1672 76 1706 110
rect 1756 76 1790 110
rect 1840 76 1874 110
rect 1924 76 1958 110
rect 2008 76 2042 110
rect 1010 -100 1160 50
rect 276 -374 316 -334
rect 374 -400 410 -364
rect 668 -324 708 -284
rect 1116 -330 1152 -294
rect 1116 -404 1152 -368
rect 1116 -478 1152 -442
rect 1116 -588 1152 -552
rect 2410 -238 2446 -204
rect 2410 -310 2446 -276
rect 2792 -272 2828 -236
rect 1116 -664 1152 -628
rect 1116 -738 1152 -702
rect -670 -1256 -636 -1222
rect -598 -1256 -564 -1222
rect -526 -1256 -492 -1222
rect -670 -1328 -636 -1294
rect -598 -1328 -564 -1294
rect -526 -1328 -492 -1294
rect 1110 -1180 1260 -1030
rect 2118 -720 2154 -684
rect 2192 -720 2228 -684
rect 2796 -862 2832 -826
rect 1566 -1324 1602 -1288
rect 1658 -1324 1694 -1288
rect 1750 -1324 1786 -1288
rect 1842 -1324 1878 -1288
rect 1934 -1324 1970 -1288
rect 4008 -1256 4042 -1222
rect 4080 -1256 4114 -1222
rect 4152 -1256 4186 -1222
rect -670 -1400 -636 -1366
rect -598 -1400 -564 -1366
rect -526 -1400 -492 -1366
rect 100 -1368 136 -1332
rect 218 -1368 254 -1332
rect 336 -1368 372 -1332
rect 454 -1368 490 -1332
rect 572 -1368 608 -1332
rect 690 -1368 726 -1332
rect 808 -1368 844 -1332
rect -670 -1472 -636 -1438
rect -598 -1472 -564 -1438
rect -526 -1472 -492 -1438
rect -672 -1544 -638 -1510
rect -600 -1544 -566 -1510
rect -528 -1544 -494 -1510
rect 2276 -1382 2312 -1346
rect 2350 -1380 2386 -1344
rect 2430 -1380 2466 -1344
rect 2510 -1380 2546 -1344
rect 2590 -1380 2626 -1344
rect 4008 -1328 4042 -1294
rect 4080 -1328 4114 -1294
rect 4152 -1328 4186 -1294
rect 4008 -1400 4042 -1366
rect 4080 -1400 4114 -1366
rect 4152 -1400 4186 -1366
rect 4008 -1472 4042 -1438
rect 4080 -1472 4114 -1438
rect 4152 -1472 4186 -1438
rect 4008 -1544 4042 -1510
rect 4080 -1544 4114 -1510
rect 4152 -1544 4186 -1510
rect -668 -1740 -510 -1610
rect -668 -1814 -622 -1740
rect -622 -1814 -548 -1740
rect -548 -1814 -510 -1740
rect -668 -2040 -510 -1814
rect -660 -2214 -530 -2160
rect -660 -2288 -622 -2214
rect -622 -2288 -548 -2214
rect -548 -2288 -530 -2214
rect -660 -2600 -530 -2288
rect -660 -2762 -622 -2730
rect -622 -2762 -548 -2730
rect -548 -2762 -500 -2730
rect -660 -3140 -500 -2762
<< metal1 >>
rect -686 1970 -450 2000
rect -686 1570 -650 1970
rect -520 1570 -450 1970
rect -686 1530 -450 1570
rect -686 1430 -510 1450
rect -686 990 -666 1430
rect -530 990 -510 1430
rect -686 970 -510 990
rect -686 870 -450 890
rect -686 440 -666 870
rect -510 440 -450 870
rect -686 420 -450 440
rect -1274 370 4710 392
rect -1274 180 -1210 370
rect -1050 230 4530 370
rect -1050 194 2498 230
rect 2534 194 2574 230
rect 2610 194 2650 230
rect 2686 194 2726 230
rect 2762 194 2802 230
rect 2838 194 2878 230
rect 2914 194 4530 230
rect -1050 180 4530 194
rect 4690 180 4710 370
rect -1274 162 4710 180
rect 82 100 938 162
rect 82 66 112 100
rect 146 66 196 100
rect 230 66 280 100
rect 314 66 364 100
rect 398 66 448 100
rect 482 66 532 100
rect 566 66 616 100
rect 650 66 700 100
rect 734 66 784 100
rect 818 66 874 100
rect 908 66 938 100
rect 1382 110 2106 162
rect 1382 76 1420 110
rect 1454 76 1504 110
rect 1538 76 1588 110
rect 1622 76 1672 110
rect 1706 76 1756 110
rect 1790 76 1840 110
rect 1874 76 1924 110
rect 1958 76 2008 110
rect 2042 76 2106 110
rect 1382 70 2106 76
rect 82 60 938 66
rect 990 50 1180 70
rect 990 -100 1010 50
rect 1160 -100 1180 50
rect 990 -120 1180 -100
rect 2396 -204 2452 -188
rect 2396 -238 2410 -204
rect 2446 -238 2452 -204
rect -1274 -284 724 -268
rect 2396 -276 2452 -238
rect -1274 -296 668 -284
rect 652 -324 668 -296
rect 708 -324 724 -284
rect -1274 -334 332 -324
rect 652 -334 724 -324
rect 1104 -294 1164 -284
rect 1104 -330 1116 -294
rect 1152 -330 1164 -294
rect 2396 -310 2410 -276
rect 2446 -310 2452 -276
rect 2786 -236 2846 -224
rect 2786 -272 2792 -236
rect 2828 -272 2846 -236
rect 2786 -284 2846 -272
rect 2396 -328 2452 -310
rect -1274 -352 276 -334
rect 260 -374 276 -352
rect 316 -374 332 -334
rect 260 -384 332 -374
rect 362 -362 416 -358
rect 1104 -362 1164 -330
rect 362 -364 1164 -362
rect 362 -376 374 -364
rect 360 -400 374 -376
rect 410 -368 1164 -364
rect 410 -400 1116 -368
rect 360 -404 1116 -400
rect 1152 -404 1164 -368
rect 360 -414 1164 -404
rect 1104 -442 1164 -414
rect 1104 -478 1116 -442
rect 1152 -478 1164 -442
rect 1104 -484 1164 -478
rect 1104 -552 1164 -546
rect 1104 -588 1116 -552
rect 1152 -588 1164 -552
rect 1104 -628 1164 -588
rect 1104 -664 1116 -628
rect 1152 -664 1164 -628
rect 1104 -700 1164 -664
rect 2108 -684 2238 -668
rect 2108 -700 2118 -684
rect 1104 -702 2118 -700
rect 1104 -738 1116 -702
rect 1152 -720 2118 -702
rect 2154 -720 2192 -684
rect 2228 -720 2238 -684
rect 1152 -736 2238 -720
rect 1152 -738 1164 -736
rect 1104 -744 1164 -738
rect 2790 -826 2850 -814
rect 2790 -862 2796 -826
rect 2832 -862 2850 -826
rect 2790 -874 2850 -862
rect 1090 -1030 1280 -1010
rect 1090 -1180 1110 -1030
rect 1260 -1180 1280 -1030
rect 1090 -1200 1280 -1180
rect -686 -1222 -486 -1202
rect -686 -1256 -670 -1222
rect -636 -1256 -598 -1222
rect -564 -1256 -526 -1222
rect -492 -1256 -486 -1222
rect -686 -1294 -486 -1256
rect 3994 -1222 4192 -1202
rect 3994 -1256 4008 -1222
rect 4042 -1256 4080 -1222
rect 4114 -1256 4152 -1222
rect 4186 -1256 4192 -1222
rect -686 -1326 -670 -1294
rect -1274 -1328 -670 -1326
rect -636 -1328 -598 -1294
rect -564 -1328 -526 -1294
rect -492 -1326 -486 -1294
rect 1542 -1288 1994 -1282
rect 1542 -1324 1566 -1288
rect 1602 -1324 1658 -1288
rect 1694 -1324 1750 -1288
rect 1786 -1324 1842 -1288
rect 1878 -1324 1934 -1288
rect 1970 -1324 1994 -1288
rect 1542 -1326 1994 -1324
rect 3994 -1294 4192 -1256
rect 3994 -1326 4008 -1294
rect -492 -1328 4008 -1326
rect 4042 -1328 4080 -1294
rect 4114 -1328 4152 -1294
rect 4186 -1326 4192 -1294
rect 4186 -1328 4440 -1326
rect -1274 -1332 4440 -1328
rect -1274 -1350 100 -1332
rect -1274 -1540 -930 -1350
rect -770 -1354 100 -1350
rect -770 -1366 -430 -1354
rect -770 -1400 -670 -1366
rect -636 -1400 -598 -1366
rect -564 -1400 -526 -1366
rect -492 -1400 -430 -1366
rect 136 -1368 218 -1332
rect 254 -1368 336 -1332
rect 372 -1368 454 -1332
rect 490 -1368 572 -1332
rect 608 -1368 690 -1332
rect 726 -1368 808 -1332
rect 844 -1344 4440 -1332
rect 844 -1346 2350 -1344
rect 844 -1368 2276 -1346
rect -770 -1438 -430 -1400
rect -770 -1472 -670 -1438
rect -636 -1472 -598 -1438
rect -564 -1472 -526 -1438
rect -492 -1472 -430 -1438
rect -770 -1510 -430 -1472
rect -770 -1540 -672 -1510
rect -1274 -1544 -672 -1540
rect -638 -1544 -600 -1510
rect -566 -1544 -528 -1510
rect -494 -1520 -430 -1510
rect 126 -1382 2276 -1368
rect 2312 -1380 2350 -1346
rect 2386 -1380 2430 -1344
rect 2466 -1380 2510 -1344
rect 2546 -1380 2590 -1344
rect 2626 -1350 4440 -1344
rect 2626 -1366 4260 -1350
rect 2626 -1380 4008 -1366
rect 2312 -1382 4008 -1380
rect 126 -1400 4008 -1382
rect 4042 -1400 4080 -1366
rect 4114 -1400 4152 -1366
rect 4186 -1400 4260 -1366
rect 126 -1438 4260 -1400
rect 126 -1472 4008 -1438
rect 4042 -1472 4080 -1438
rect 4114 -1472 4152 -1438
rect 4186 -1472 4260 -1438
rect 126 -1510 4260 -1472
rect 126 -1520 4008 -1510
rect -494 -1544 4008 -1520
rect 4042 -1544 4080 -1510
rect 4114 -1544 4152 -1510
rect 4186 -1540 4260 -1510
rect 4420 -1540 4440 -1350
rect 4186 -1544 4440 -1540
rect -1274 -1558 4440 -1544
rect -688 -1610 -450 -1590
rect -688 -2040 -668 -1610
rect -510 -2040 -450 -1610
rect -688 -2060 -450 -2040
rect -686 -2160 -510 -2140
rect -686 -2600 -660 -2160
rect -530 -2600 -510 -2160
rect -686 -2620 -510 -2600
rect -686 -2730 -450 -2700
rect -686 -3140 -660 -2730
rect -500 -3140 -450 -2730
rect -686 -3170 -450 -3140
<< via1 >>
rect -650 1570 -520 1970
rect -666 990 -530 1430
rect -1210 180 -1050 370
rect 4530 180 4690 370
rect 1010 -100 1160 50
rect 1110 -1180 1260 -1030
rect -930 -1540 -770 -1350
rect -430 -1368 100 -1354
rect 100 -1368 126 -1354
rect -430 -1520 126 -1368
rect 4260 -1540 4420 -1350
rect -660 -2600 -530 -2160
rect -660 -3140 -500 -2730
<< metal2 >>
rect -686 1970 -450 2000
rect -686 1570 -650 1970
rect -520 1570 -450 1970
rect -686 1530 -450 1570
rect -686 1430 -510 1450
rect -686 990 -666 1430
rect -530 990 -510 1430
rect -686 970 -510 990
rect -1228 370 -1028 392
rect -1228 180 -1210 370
rect -1050 180 -1028 370
rect -1228 162 -1028 180
rect 990 50 1180 420
rect 4510 370 4710 392
rect 4510 180 4530 370
rect 4690 180 4710 370
rect 4510 162 4710 180
rect 990 -100 1010 50
rect 1160 -100 1180 50
rect 990 -120 1180 -100
rect 1090 -1030 1280 -1010
rect 1090 -1180 1110 -1030
rect 1260 -1180 1280 -1030
rect -952 -1350 -752 -1326
rect -952 -1540 -930 -1350
rect -770 -1540 -752 -1350
rect -458 -1354 172 -1326
rect -458 -1520 -430 -1354
rect 126 -1520 172 -1354
rect -458 -1526 172 -1520
rect -952 -1558 -752 -1540
rect -450 -1590 180 -1526
rect 1090 -1591 1280 -1180
rect 4240 -1350 4440 -1326
rect 4240 -1540 4260 -1350
rect 4420 -1540 4440 -1350
rect 4240 -1558 4440 -1540
rect -686 -2160 -510 -2140
rect -686 -2600 -660 -2160
rect -530 -2600 -510 -2160
rect -686 -2620 -510 -2600
rect -686 -2730 -450 -2700
rect -686 -3140 -660 -2730
rect -500 -3140 -450 -2730
rect -686 -3170 -450 -3140
<< via2 >>
rect -650 1570 -520 1970
rect -666 990 -530 1430
rect -1210 180 -1050 370
rect 4530 180 4690 370
rect -930 -1540 -770 -1350
rect -430 -1520 126 -1354
rect 4260 -1540 4420 -1350
rect -660 -2600 -530 -2160
rect -660 -3140 -500 -2730
<< metal3 >>
rect -686 1970 -450 2000
rect -686 1570 -650 1970
rect -520 1570 -450 1970
rect -686 1530 -450 1570
rect -686 1430 -510 1450
rect -686 990 -666 1430
rect -530 990 -510 1430
rect -686 970 -510 990
rect -1228 370 -1028 392
rect -1228 180 -1210 370
rect -1050 180 -1028 370
rect -1228 162 -1028 180
rect 4510 370 4710 392
rect 4510 180 4530 370
rect 4690 180 4710 370
rect 4510 162 4710 180
rect -952 -1350 -752 -1326
rect -952 -1540 -930 -1350
rect -770 -1540 -752 -1350
rect -458 -1354 172 -1326
rect -458 -1520 -430 -1354
rect 126 -1520 172 -1354
rect -458 -1526 172 -1520
rect 4240 -1350 4440 -1326
rect -952 -1558 -752 -1540
rect 4240 -1540 4260 -1350
rect 4420 -1540 4440 -1350
rect 4240 -1558 4440 -1540
rect -686 -2160 -510 -2140
rect -686 -2600 -660 -2160
rect -530 -2600 -510 -2160
rect -686 -2620 -510 -2600
rect -686 -2730 -450 -2700
rect -686 -3140 -660 -2730
rect -500 -3140 -450 -2730
rect -686 -3170 -450 -3140
<< via3 >>
rect -650 1570 -520 1970
rect -666 990 -530 1430
rect -1210 180 -1050 370
rect 4530 180 4690 370
rect -930 -1540 -770 -1350
rect 4260 -1540 4420 -1350
rect -660 -2600 -530 -2160
rect -660 -3140 -500 -2730
<< metal4 >>
rect -1228 370 -1028 2218
rect -1228 180 -1210 370
rect -1050 180 -1028 370
rect -1228 -3378 -1028 180
rect -952 -1350 -752 2218
rect -686 1970 -450 2000
rect -686 1570 -650 1970
rect -520 1570 -450 1970
rect -686 1530 -450 1570
rect -686 1430 -450 1450
rect -686 990 -666 1430
rect -530 990 -450 1430
rect -686 970 -450 990
rect -952 -1540 -930 -1350
rect -770 -1540 -752 -1350
rect -952 -3378 -752 -1540
rect 4240 -1350 4440 2218
rect 4240 -1540 4260 -1350
rect 4420 -1540 4440 -1350
rect -686 -2160 -450 -2140
rect -686 -2600 -660 -2160
rect -530 -2600 -450 -2160
rect -686 -2620 -450 -2600
rect -686 -2730 -450 -2700
rect -686 -3140 -660 -2730
rect -500 -3140 -450 -2730
rect -686 -3170 -450 -3140
rect 4240 -3378 4440 -1540
rect 4510 370 4710 2218
rect 4510 180 4530 370
rect 4690 180 4710 370
rect 4510 -3378 4710 180
<< comment >>
rect 94 -58 126 -16
rect 290 -62 322 -20
rect 480 -64 512 -22
rect 672 -64 704 -22
rect 864 -62 896 -20
rect 1332 -350 1350 -146
rect 1554 -338 1574 -118
rect 1748 -366 1768 -146
rect 1942 -308 1962 -88
rect 2168 -350 2186 -146
rect 100 -752 132 -710
rect 288 -738 320 -696
rect 476 -736 508 -694
rect 680 -732 712 -690
rect 868 -724 900 -682
rect 1548 -1056 1576 -888
rect 1742 -1058 1770 -890
rect 1934 -1072 1962 -904
rect 192 -1140 224 -1098
rect 390 -1142 422 -1100
rect 578 -1140 610 -1098
rect 766 -1140 798 -1098
use adc_comp_buffer  adc_comp_buffer_0 ../adc_comp_buffer
transform 1 0 2448 0 1 -226
box -42 -326 408 452
use adc_comp_buffer  adc_comp_buffer_1
transform 1 0 2448 0 -1 -870
box -42 -326 408 452
use adc_noise_decoup_cell2  adc_noise_decoup_cell2_0 ../adc_noise_decoup_cell
transform 1 0 -450 0 1 -3170
box 0 0 4340 1580
use adc_noise_decoup_cell2  adc_noise_decoup_cell2_1
transform 1 0 -450 0 1 420
box 0 0 4340 1580
<< labels >>
rlabel locali 1210 -602 1210 -568 7 bn
rlabel locali 2300 -602 2300 -568 3 bp
rlabel locali 2862 -862 2862 -824 3 outn
port 7 e
rlabel locali 2860 -272 2860 -234 3 outp
port 8 e
rlabel locali 574 -450 574 -418 7 on
rlabel locali 190 -450 190 -418 7 op
rlabel locali 1440 -1298 1440 -1244 7 nclk
port 10 w
rlabel locali -6 -1044 -6 -1014 7 clk
port 9 w
flabel metal4 s 4240 -3378 4440 2218 0 FreeSans 800 90 0 0 VSS
port 12 nsew
flabel metal4 s 4510 -3378 4710 2218 0 FreeSans 800 90 0 0 VDD
port 14 nsew
flabel metal4 s -952 -3378 -752 2218 0 FreeSans 800 90 0 0 VSS
port 16 nsew
flabel metal4 s -1228 -3378 -1028 2218 0 FreeSans 800 90 0 0 VDD
port 18 nsew
rlabel metal1 -1274 -296 -1274 -268 7 inp
port 5 w
rlabel metal1 -1274 -352 -1274 -324 7 inn
port 6 w
rlabel metal1 -1274 -1484 -1274 -1326 7 VSS
port 2 w
rlabel metal1 -1274 162 -1274 300 7 VDD
port 1 w
<< end >>

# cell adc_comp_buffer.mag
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
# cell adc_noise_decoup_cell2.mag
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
